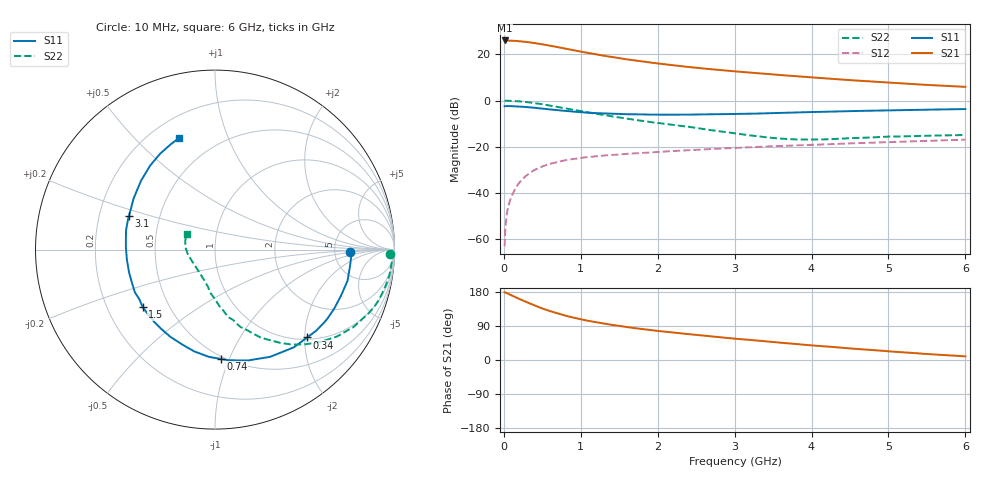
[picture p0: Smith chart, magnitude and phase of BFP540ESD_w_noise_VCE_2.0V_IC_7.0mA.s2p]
! Infineon Technologies  Discrete & RF Semiconductors
! BFP540ESD
! VCE =  2.0 V,  IC =  7.0 mA
! Common Emitter S-Parameters:  Nov 2015
# GHz  S  MA  R  50
!  f  S11  S21  S12  S22
! GHz  MAG  ANG  MAG  ANG  MAG  ANG  MAG  ANG
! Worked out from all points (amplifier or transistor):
!   210 points, 10 MHz to 6 GHz, reference 50 ohm
!   highest |S21| = 26.0 dB at 10 MHz (marker M1)
!   |S21| within 3 dB of that: start of sweep to 717.7 MHz
!   unconditionally stable (mu >= 1): 3.009 GHz to end of sweep
!   at 185 MHz: K = 0.08, MSG = 31.0 dB, |S12| = -36.3 dB
!   at 1.52 GHz: K = 0.61, MSG = 20.8 dB, |S12| = -23.3 dB
!   at 6 GHz: K = 1.19, MAG = 8.8 dB, |S12| = -16.9 dB
!   lowest NFmin = 0.76 dB at 900 MHz
!   S11 on the Smith chart (normalised r, x): 10 MHz: 7.07, -0.47; 340 MHz: 1.04, -2.06; 740 MHz: 0.48, -0.93; 1.5 GHz: 0.36, -0.31; 3.1 GHz: 0.33, +0.17; 6 GHz: 0.31, +0.68
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0.01  0.7532 -1.1  20.05 178.8  0.0007 65.9  0.9778 -1.4
0.025  0.7595 -3.6  19.97 177.8  0.0022 96.5  0.9923 -1.9
0.05  0.7581 -6.7  19.91 175.2  0.0045 93.3  0.988 -3.8
0.1  0.7585 -13.2  19.84 170.6  0.0083 84.8  0.9837 -7.7
0.15  0.7479 -19.9  19.66 165.9  0.0124 81.9  0.9737 -11.5
0.26  0.7314 -33.8  18.89 155.8  0.0212 75.5  0.9429 -19.7
0.34  0.7093 -43.6  18.14 149.0  0.0271 71.4  0.908 -25.1
0.4  0.6998 -51.0  17.6 143.9  0.0314 69.0  0.8837 -29.3
0.5  0.6717 -62.8  16.62 135.9  0.0373 63.9  0.8327 -35.7
0.6  0.6442 -73.6  15.43 128.9  0.0426 59.3  0.7803 -41.2
0.74  0.6095 -87.1  13.95 120.6  0.0485 54.4  0.7087 -48.2
0.9  0.5789 -101.5  12.35 111.9  0.0538 50.2  0.6332 -55.1
1.02  0.5558 -110.7  11.33 106.7  0.0579 47.3  0.5822 -59.5
1.2  0.534 -124.0  9.985 99.5  0.062 44.3  0.517 -65.4
1.5  0.5143 -141.7  8.276 89.7  0.0679 40.5  0.4296 -73.6
1.7  0.5058 -152.0  7.41 84.1  0.0715 38.5  0.3837 -78.9
2.02  0.495 -165.7  6.311 76.3  0.0773 36.6  0.325 -84.7
2.58  0.4993 173.9  4.974 64.5  0.0869 33.6  0.2426 -96.0
3.1  0.5148 158.4  4.161 54.7  0.0955 31.2  0.1848 -107.9
4.1  0.568 135.0  3.091 37.1  0.1112 25.6  0.1434 -154.1
5.1  0.6191 118.4  2.399 21.5  0.1275 19.9  0.1664 172.9
6  0.6542 107.8  1.981 9.5  0.1423 15.0  0.1797 151.4
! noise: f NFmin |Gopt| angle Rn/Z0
0.9  0.76  0.01  -71  0.11
1.8  0.97  0.09  177  0.11
2.4  0.98  0.11  174  0.1
3  1.11  0.19  -171  0.09
4  1.26  0.31  -120  0.15
5  1.48  0.43  -96  0.28
6  1.73  0.52  -98  0.43
